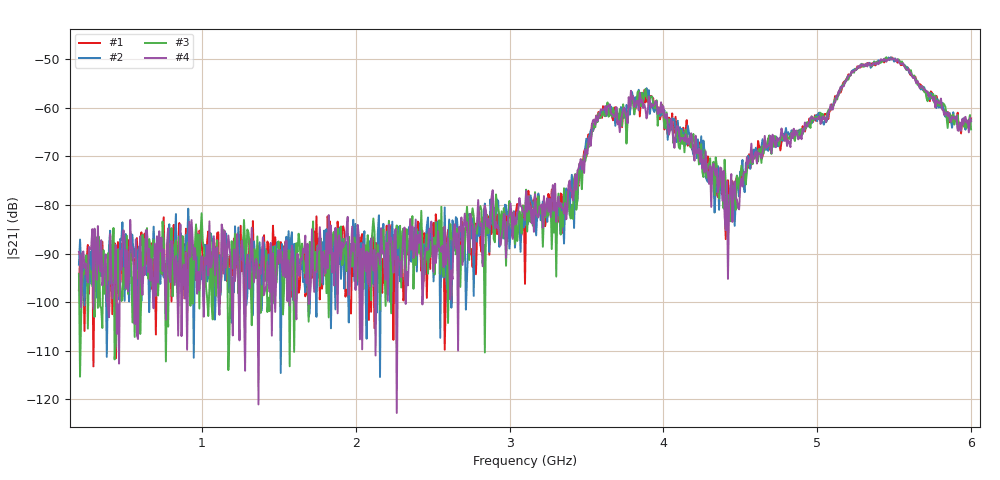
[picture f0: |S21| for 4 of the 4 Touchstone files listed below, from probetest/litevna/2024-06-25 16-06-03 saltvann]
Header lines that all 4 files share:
! NanoVNA-App
! Start: 200MHz Stop: 6GHz Points: 801
! S-Parameter data: F S11 S21 S12 S22
# Hz S RI R 50
!  Frequency  S11_Real  S11_Imag  S21_Real  S21_Imag  S12_Real  S12_Imag  S22_Real  S22_Imag
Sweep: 200 MHz to 6 GHz
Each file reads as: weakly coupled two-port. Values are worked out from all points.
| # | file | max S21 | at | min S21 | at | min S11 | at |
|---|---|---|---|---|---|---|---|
| 1 | 1.s2p | -49.63 dB | 5.485 GHz | -113.2 dB | 294.2 MHz | -5.8 dB | 2.948 GHz |
| 2 | 2.s2p | -49.61 dB | 5.478 GHz | -115.4 dB | 2.158 GHz | -5.8 dB | 2.948 GHz |
| 3 | 6.s2p | -49.59 dB | 5.449 GHz | -115.3 dB | 207.2 MHz | -5.8 dB | 2.948 GHz |
| 4 | 8.s2p | -49.85 dB | 5.471 GHz | -122.8 dB | 2.266 GHz | -5.8 dB | 2.948 GHz |
